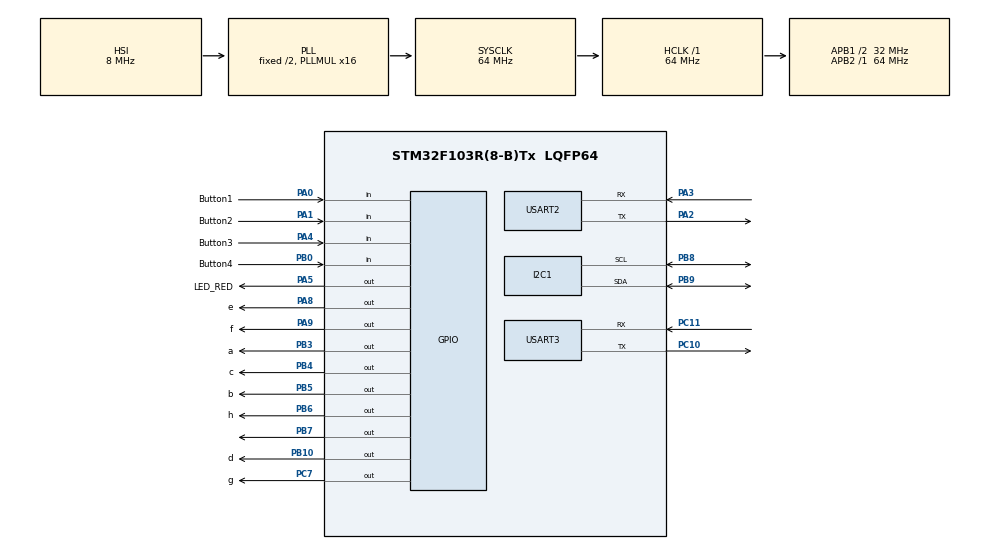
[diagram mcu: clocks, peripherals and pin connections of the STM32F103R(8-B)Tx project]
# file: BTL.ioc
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Mcu.Family=STM32F1
Mcu.Name=STM32F103R(8-B)Tx
Mcu.Package=LQFP64
NVIC.PriorityGroup=NVIC_PRIORITYGROUP_4
NVIC.TIM2_IRQn=true\:0\:0\:false\:false\:true\:true\:true
PA0-WKUP.GPIO_Label=Button1
PA0-WKUP.Signal=GPIO_Input
PA1.GPIO_Label=Button2
PA1.Signal=GPIO_Input
PA13.Mode=Serial_Wire
PA13.Signal=SYS_JTMS-SWDIO
PA14.Mode=Serial_Wire
PA14.Signal=SYS_JTCK-SWCLK
PA2.Mode=Asynchronous
PA2.Signal=USART2_TX
PA3.Mode=Asynchronous
PA3.Signal=USART2_RX
PA4.GPIO_Label=Button3
PA4.Signal=GPIO_Input
PA5.GPIO_Label=LED_RED
PA5.Signal=GPIO_Output
PA8.GPIO_Label=e
PA8.Signal=GPIO_Output
PA9.GPIO_Label=f
PA9.Signal=GPIO_Output
PB0.GPIO_Label=Button4
PB0.Signal=GPIO_Input
PB10.GPIO_Label=d
PB10.Signal=GPIO_Output
PB3.GPIO_Label=a
PB3.Signal=GPIO_Output
PB4.GPIO_Label=c
PB4.Signal=GPIO_Output
PB5.GPIO_Label=b
PB5.Signal=GPIO_Output
PB6.GPIO_Label=h
PB6.Signal=GPIO_Output
PB7.Signal=GPIO_Output
PB8.Mode=I2C
PB8.Signal=I2C1_SCL
PB9.Mode=I2C
PB9.Signal=I2C1_SDA
PC10.Mode=Asynchronous
PC10.Signal=USART3_TX
PC11.Mode=Asynchronous
PC11.Signal=USART3_RX
PC7.GPIO_Label=g
PC7.Signal=GPIO_Output
ProjectManager.HeapSize=0x200
ProjectManager.StackSize=0x400
ProjectManager.TargetToolchain=STM32CubeIDE
RCC.AHBFreq_Value=64000000
RCC.APB1CLKDivider=RCC_HCLK_DIV2
RCC.APB1Freq_Value=32000000
RCC.APB1TimFreq_Value=64000000
RCC.APB2Freq_Value=64000000
RCC.APB2TimFreq_Value=64000000
RCC.HCLKFreq_Value=64000000
RCC.PLLMUL=RCC_PLL_MUL16
RCC.SYSCLKFreq_VALUE=64000000
RCC.SYSCLKSource=RCC_SYSCLKSOURCE_PLLCLK
RCC.USBFreq_Value=64000000
USART2.VirtualMode=VM_ASYNC
USART3.VirtualMode=VM_ASYNC
VP_TIM2_VS_ClockSourceINT.Mode=Internal
board=custom

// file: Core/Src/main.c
/* USER CODE BEGIN Header */
/**
  ******************************************************************************
  * @file           : main.c
  * @brief          : Main program body
  ******************************************************************************
  * @attention
  *
  * <h2><center>&copy; Copyright (c) 2024 STMicroelectronics.
  * All rights reserved.</center></h2>
  *
  * This software component is licensed by ST under BSD 3-Clause license,
  * the "License"; You may not use this file except in compliance with the
  * License. You may obtain a copy of the License at:
  *                        opensource.org/licenses/BSD-3-Clause
  *
  ******************************************************************************
  */
/* USER CODE END Header */
#include "main.h"

/* USER CODE BEGIN Includes */
#include "scheduler.h"
#include "led_traffic.h"
#include "fsm_manual.h"
#include "i2c-lcd.h"
#include "button.h"
#include "software_timer.h"
#include "led_traffic.h"
#include "fsm_automatic.h"
#include "fsm_setting.h"
/* USER CODE END Includes */

I2C_HandleTypeDef hi2c1;

TIM_HandleTypeDef htim2;

void SystemClock_Config(void);
static void MX_GPIO_Init(void);
static void MX_TIM2_Init(void);
static void MX_I2C1_Init(void);
static void MX_USART2_UART_Init(void);
static void MX_USART3_UART_Init(void);

int main(void)
{

  /* MCU Configuration--------------------------------------------------------*/

  /* Reset of all peripherals, Initializes the Flash interface and the Systick. */
  HAL_Init();

  /* Configure the system clock */
  SystemClock_Config();

  /* Initialize all configured peripherals */
  MX_GPIO_Init();
  MX_TIM2_Init();
  MX_I2C1_Init();
  MX_USART2_UART_Init();
  MX_USART3_UART_Init();
  /* USER CODE BEGIN 2 */
  lcd_init();
  HAL_TIM_Base_Start_IT(&htim2);
  /* USER CODE END 2 */

  /* Infinite loop */
  /* USER CODE BEGIN WHILE */
  SCH_Add_Task(fsm_manual, 1000, 1000);
  while (1)
  {
	  SCH_Dispatch_Task();
    /* USER CODE END WHILE */

  }
}

void SystemClock_Config(void)
{
  RCC_OscInitTypeDef RCC_OscInitStruct = {0};
  RCC_ClkInitTypeDef RCC_ClkInitStruct = {0};

  /** Initializes the RCC Oscillators according to the specified parameters
  * in the RCC_OscInitTypeDef structure.
  */
  RCC_OscInitStruct.OscillatorType = RCC_OSCILLATORTYPE_HSI;
  RCC_OscInitStruct.HSIState = RCC_HSI_ON;
  RCC_OscInitStruct.HSICalibrationValue = RCC_HSICALIBRATION_DEFAULT;
  RCC_OscInitStruct.PLL.PLLState = RCC_PLL_ON;
  RCC_OscInitStruct.PLL.PLLSource = RCC_PLLSOURCE_HSI_DIV2;
  RCC_OscInitStruct.PLL.PLLMUL = RCC_PLL_MUL16;
  if (HAL_RCC_OscConfig(&RCC_OscInitStruct) != HAL_OK)
  {
    Error_Handler();
  }
  /** Initializes the CPU, AHB and APB buses clocks
  */
  RCC_ClkInitStruct.ClockType = RCC_CLOCKTYPE_HCLK|RCC_CLOCKTYPE_SYSCLK
                              |RCC_CLOCKTYPE_PCLK1|RCC_CLOCKTYPE_PCLK2;
  RCC_ClkInitStruct.SYSCLKSource = RCC_SYSCLKSOURCE_PLLCLK;
  RCC_ClkInitStruct.AHBCLKDivider = RCC_SYSCLK_DIV1;
  RCC_ClkInitStruct.APB1CLKDivider = RCC_HCLK_DIV2;
  RCC_ClkInitStruct.APB2CLKDivider = RCC_HCLK_DIV1;

  if (HAL_RCC_ClockConfig(&RCC_ClkInitStruct, FLASH_LATENCY_2) != HAL_OK)
  {
    Error_Handler();
  }
}

static void MX_I2C1_Init(void)
{

  hi2c1.Instance = I2C1;
  hi2c1.Init.ClockSpeed = 100000;
  hi2c1.Init.DutyCycle = I2C_DUTYCYCLE_2;
  hi2c1.Init.OwnAddress1 = 0;
  hi2c1.Init.AddressingMode = I2C_ADDRESSINGMODE_7BIT;
  hi2c1.Init.DualAddressMode = I2C_DUALADDRESS_DISABLE;
  hi2c1.Init.OwnAddress2 = 0;
  hi2c1.Init.GeneralCallMode = I2C_GENERALCALL_DISABLE;
  hi2c1.Init.NoStretchMode = I2C_NOSTRETCH_DISABLE;
  if (HAL_I2C_Init(&hi2c1) != HAL_OK)
  {
    Error_Handler();
  }

}

static void MX_TIM2_Init(void)
{

  TIM_ClockConfigTypeDef sClockSourceConfig = {0};
  TIM_MasterConfigTypeDef sMasterConfig = {0};

  htim2.Instance = TIM2;
  htim2.Init.Prescaler = 0;
  htim2.Init.CounterMode = TIM_COUNTERMODE_UP;
  htim2.Init.Period = 65535;
  htim2.Init.ClockDivision = TIM_CLOCKDIVISION_DIV1;
  htim2.Init.AutoReloadPreload = TIM_AUTORELOAD_PRELOAD_DISABLE;
  if (HAL_TIM_Base_Init(&htim2) != HAL_OK)
  {
    Error_Handler();
  }
  sClockSourceConfig.ClockSource = TIM_CLOCKSOURCE_INTERNAL;
  if (HAL_TIM_ConfigClockSource(&htim2, &sClockSourceConfig) != HAL_OK)
  {
    Error_Handler();
  }
  sMasterConfig.MasterOutputTrigger = TIM_TRGO_RESET;
  sMasterConfig.MasterSlaveMode = TIM_MASTERSLAVEMODE_DISABLE;
  if (HAL_TIMEx_MasterConfigSynchronization(&htim2, &sMasterConfig) != HAL_OK)
  {
    Error_Handler();
  }

}

static void MX_USART2_UART_Init(void)
{

  huart2.Instance = USART2;
  huart2.Init.BaudRate = 115200;
  huart2.Init.WordLength = UART_WORDLENGTH_8B;
  huart2.Init.StopBits = UART_STOPBITS_1;
  huart2.Init.Parity = UART_PARITY_NONE;
  huart2.Init.Mode = UART_MODE_TX_RX;
  huart2.Init.HwFlowCtl = UART_HWCONTROL_NONE;
  huart2.Init.OverSampling = UART_OVERSAMPLING_16;
  if (HAL_UART_Init(&huart2) != HAL_OK)
  {
    Error_Handler();
  }

}

static void MX_USART3_UART_Init(void)
{

  huart3.Instance = USART3;
  huart3.Init.BaudRate = 115200;
  huart3.Init.WordLength = UART_WORDLENGTH_8B;
  huart3.Init.StopBits = UART_STOPBITS_1;
  huart3.Init.Parity = UART_PARITY_NONE;
  huart3.Init.Mode = UART_MODE_TX_RX;
  huart3.Init.HwFlowCtl = UART_HWCONTROL_NONE;
  huart3.Init.OverSampling = UART_OVERSAMPLING_16;
  if (HAL_UART_Init(&huart3) != HAL_OK)
  {
    Error_Handler();
  }

}

static void MX_GPIO_Init(void)
{
  GPIO_InitTypeDef GPIO_InitStruct = {0};

  /* GPIO Ports Clock Enable */
  __HAL_RCC_GPIOA_CLK_ENABLE();
  __HAL_RCC_GPIOB_CLK_ENABLE();
  __HAL_RCC_GPIOC_CLK_ENABLE();

  /*Configure GPIO pin Output Level */
  HAL_GPIO_WritePin(GPIOA, LED_RED_Pin|e_Pin|f_Pin, GPIO_PIN_RESET);

  /*Configure GPIO pin Output Level */
  HAL_GPIO_WritePin(GPIOB, d_Pin|a_Pin|c_Pin|b_Pin
                          |h_Pin|GPIO_PIN_7, GPIO_PIN_RESET);

  /*Configure GPIO pin Output Level */
  HAL_GPIO_WritePin(g_GPIO_Port, g_Pin, GPIO_PIN_RESET);

  /*Configure GPIO pins : Button1_Pin Button2_Pin Button3_Pin */
  GPIO_InitStruct.Pin = Button1_Pin|Button2_Pin|Button3_Pin;
  GPIO_InitStruct.Mode = GPIO_MODE_INPUT;
  GPIO_InitStruct.Pull = GPIO_NOPULL;
  HAL_GPIO_Init(GPIOA, &GPIO_InitStruct);

  /*Configure GPIO pins : LED_RED_Pin e_Pin f_Pin */
  GPIO_InitStruct.Pin = LED_RED_Pin|e_Pin|f_Pin;
  GPIO_InitStruct.Mode = GPIO_MODE_OUTPUT_PP;
  GPIO_InitStruct.Pull = GPIO_NOPULL;
  GPIO_InitStruct.Speed = GPIO_SPEED_FREQ_LOW;
  HAL_GPIO_Init(GPIOA, &GPIO_InitStruct);

  /*Configure GPIO pin : Button4_Pin */
  GPIO_InitStruct.Pin = Button4_Pin;
  GPIO_InitStruct.Mode = GPIO_MODE_INPUT;
  GPIO_InitStruct.Pull = GPIO_NOPULL;
  HAL_GPIO_Init(Button4_GPIO_Port, &GPIO_InitStruct);

  /*Configure GPIO pins : d_Pin a_Pin c_Pin b_Pin
                           h_Pin PB7 */
  GPIO_InitStruct.Pin = d_Pin|a_Pin|c_Pin|b_Pin
                          |h_Pin|GPIO_PIN_7;
  GPIO_InitStruct.Mode = GPIO_MODE_OUTPUT_PP;
  GPIO_InitStruct.Pull = GPIO_NOPULL;
  GPIO_InitStruct.Speed = GPIO_SPEED_FREQ_LOW;
  HAL_GPIO_Init(GPIOB, &GPIO_InitStruct);

  /*Configure GPIO pin : g_Pin */
  GPIO_InitStruct.Pin = g_Pin;
  GPIO_InitStruct.Mode = GPIO_MODE_OUTPUT_PP;
  GPIO_InitStruct.Pull = GPIO_NOPULL;
  GPIO_InitStruct.Speed = GPIO_SPEED_FREQ_LOW;
  HAL_GPIO_Init(g_GPIO_Port, &GPIO_InitStruct);

}

/* USER CODE BEGIN 4 */
void HAL_TIM_PeriodElapsedCallback ( TIM_HandleTypeDef * htim )
{
	getKeyInput();
	SCH_Update();
}
/* USER CODE END 4 */

void Error_Handler(void)
{
  __disable_irq();
  while (1)
  {
  }
}

/************************ (C) COPYRIGHT STMicroelectronics *****END OF FILE****/
